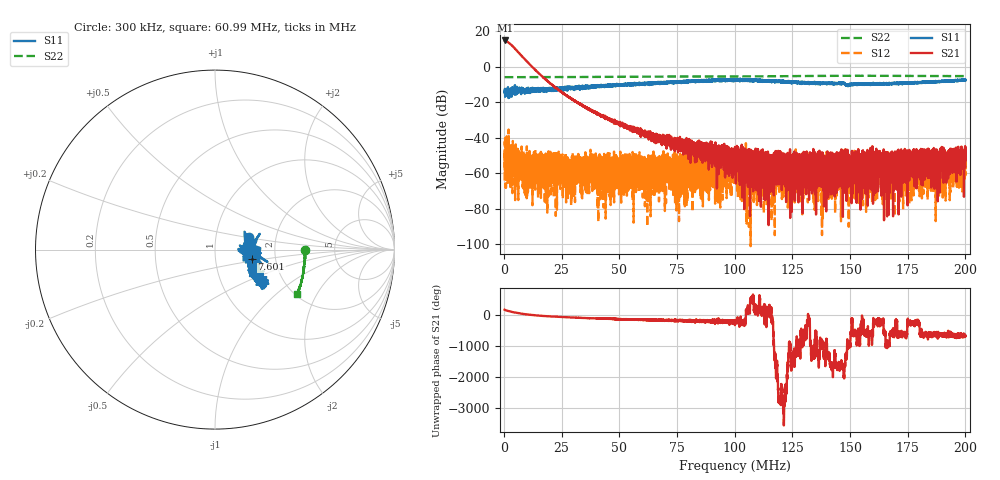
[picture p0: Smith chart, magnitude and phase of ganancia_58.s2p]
# Hz S DB R 50
! CMT, M5065, 19127446, 24.2.4/2
! Date: 11/8/2024 6:49:09 PM
! Data: Format (Calibration Info)
! Freq	S11:dB/Ang(F2)	S21:dB/Ang(F2)	S12:dB/Ang(F2)	S22:dB/Ang(F2)
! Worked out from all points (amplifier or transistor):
!   9000 points, 300 kHz to 200 MHz, reference 50 ohm
!   highest |S21| = 14.7 dB at 322.2 kHz (marker M1)
!   |S21| within 3 dB of that: start of sweep to 3.599 MHz
!   unconditionally stable (mu >= 1): start of sweep to end of sweep
!   at 33.59 MHz: K = 2449.09, MAG = -19.8 dB, |S12| = -55.6 dB
!   at 100.2 MHz: K = 164510.19, MAG = -55.9 dB, |S12| = -56.7 dB
!   at 200 MHz: K = 30405.47, MAG = -43.8 dB, |S12| = -54.2 dB
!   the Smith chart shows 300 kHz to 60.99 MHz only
!   S11 on the Smith chart (normalised r, x): 300 kHz: 1.44, +0.22; 7.601 MHz: 1.50, -0.17; 60.99 MHz: 1.54, -0.63
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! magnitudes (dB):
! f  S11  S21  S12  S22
! 300 kHz  -13.9  14.7  -64.1  -6.0
! 322.2 kHz  -13.7  14.7  -58.3  -6.0
! 1.365 MHz  -13.8  14.1  -47.6  -6.0
! 7.601 MHz  -13.5  6.1  -48.9  -6.0
! 11.53 MHz  -12.4  0.8  -61.5  -6.0
! 33.59 MHz  -11.4  -21.4  -55.6  -5.9
! 60.99 MHz  -10.0  -38.6  -62.3  -5.7
! 66.87 MHz  -9.2  -39.5  -55.5  -5.7
! 100.2 MHz  -7.6  -58.1  -56.7  -5.6
! 108.9 MHz  -7.8  -63.3  -55.9  -5.5
! 111.6 MHz  -7.8  -52.5  -58.3  -5.5
! 116.8 MHz  -8.6  -61.5  -61.2  -5.5
! 118.9 MHz  -8.3  -54.9  -58.0  -5.4
! 133.4 MHz  -8.8  -59.2  -54.5  -5.3
! 141.7 MHz  -9.6  -65.2  -57.1  -5.2
! 147.7 MHz  -9.2  -49.0  -56.2  -5.2
! 151.5 MHz  -10.2  -55.0  -54.5  -5.2
! 160 MHz  -9.7  -61.8  -56.1  -5.2
! 163.7 MHz  -9.9  -52.3  -54.7  -5.2
! 166.7 MHz  -9.3  -53.3  -55.6  -5.2
! 197 MHz  -7.7  -53.2  -51.7  -5.4
! 200 MHz  -7.7  -46.1  -54.2  -5.4
